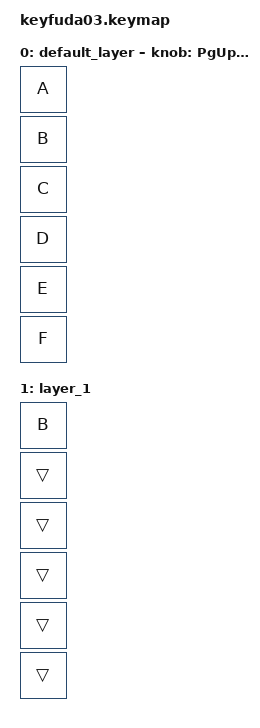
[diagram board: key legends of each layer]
/*
 * Copyright (c) 2022 The ZMK Contributors
 *
 * SPDX-License-Identifier: MIT
 */

#include <behaviors.dtsi>
#include <dt-bindings/zmk/keys.h>

/ {
    keymap {
        compatible = "zmk,keymap";

        default_layer {
            bindings = <
&kp A  &kp B  &kp C  &kp D  &kp E          &kp F
            >;

            sensor-bindings = <&inc_dec_kp PG_UP PAGE_DOWN>;
        };

        layer_1 {
            bindings = <
&kp B  &trans  &trans  &trans  &trans          &trans
            >;
        };
    };
};
